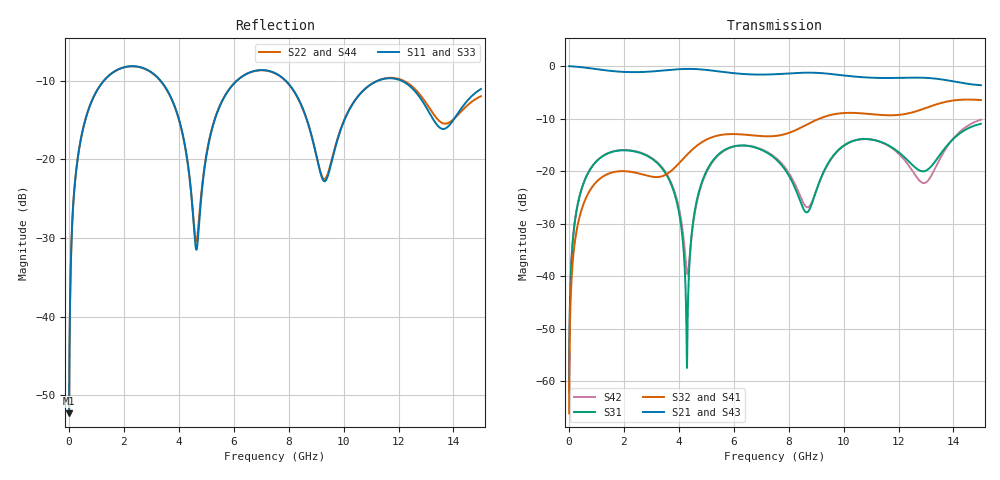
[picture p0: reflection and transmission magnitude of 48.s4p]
! Created with skrf 1.8.0 (http://scikit-rf.org).
# GHz S RI R 50.0
!freq ReS11 ImS11 ReS12 ImS12 ReS13 ImS13
! ReS14 ImS14
! ReS21 ImS21 ReS22 ImS22 ReS23 ImS23
! ReS24 ImS24
! ReS31 ImS31 ReS32 ImS32 ReS33 ImS33
! ReS34 ImS34
! ReS41 ImS41 ReS42 ImS42 ReS43 ImS43
! ReS44 ImS44
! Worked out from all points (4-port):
!   2499 points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, 5 MHz to 15 GHz, reference 50 ohm
!   strongest paths, dB at 5 MHz, 3.476 GHz, 7.19 GHz, 11.1 GHz, 15 GHz:
!     S21: 0.0, -0.8, -1.6, -2.2, -3.6
!     S43: 0.0, -0.8, -1.6, -2.2, -3.6
!     S32: -66.1, -20.8, -13.4, -9.2, -6.5
!     S41: -66.1, -20.8, -13.4, -9.2, -6.5
!     S31: -62.1, -20.1, -16.4, -14.1, -11.0
!     S42: -62.1, -19.9, -16.3, -14.1, -10.2
!   lowest |S11| = -52.3 dB at 5 MHz (marker M1), VSWR 1.00, Z = 50.2 + j0.147 ohm
!   |S11| at or under -10 dB: 3.34 GHz to 6.105 GHz (2.765 GHz wide, 58.6 % of centre); 7.901 GHz to 11.23 GHz (3.334 GHz wide, 34.8 % of centre); 12.12 GHz to end of sweep (the widest 3 of 4)
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0.005  0.00193 0.00147  0.998 -0.00376  9.84e-05 0.000777  -9.55e-05 -0.000486
       0.998 -0.00376  0.00193 0.00147  -9.55e-05 -0.000486  9.85e-05 0.000777
       9.84e-05 0.000777  -9.55e-05 -0.000486  0.00193 0.00147  0.998 -0.00376
       -9.55e-05 -0.000486  9.85e-05 0.000777  0.998 -0.00376  0.00193 0.00147
0.3126303  0.0318 0.0949  0.9564 -0.2322  0.015 0.0452  -0.0125 -0.0276
           0.9564 -0.2322  0.0318 0.0949  -0.0125 -0.0276  0.0152 0.0451
           0.015 0.0452  -0.0125 -0.0276  0.0318 0.0949  0.9564 -0.2322
           -0.0125 -0.0276  0.0152 0.0451  0.9564 -0.2322  0.0318 0.0949
1.3193  0.2719 0.1768  0.5465 -0.73  0.1288 0.0631  -0.0912 -0.00579
        0.5465 -0.73  0.2713 0.1773  -0.0913 -0.00577  0.1306 0.0608
        0.1288 0.0631  -0.0913 -0.00577  0.2718 0.1768  0.5466 -0.73
        -0.0912 -0.00579  0.1306 0.0608  0.5466 -0.73  0.2712 0.1773
4.29554  0.0468 -0.0918  -0.8932 -0.2917  -0.00131 -0.000265  -0.0402 0.1373
         -0.8932 -0.2917  0.0498 -0.0892  -0.0399 0.1374  -0.0102 -0.00401
         -0.00131 -0.000265  -0.0399 0.1374  0.0464 -0.0903  -0.8934 -0.2915
         -0.0402 0.1373  -0.0102 -0.00401  -0.8934 -0.2915  0.0493 -0.0878
5.364735  0.1226 0.1473  -0.8096 0.3838  0.1031 0.0914  0.1197 0.1802
          -0.8096 0.3838  0.1259 0.147  0.1202 0.18  0.0986 0.0921
          0.1031 0.0914  0.1202 0.18  0.1233 0.1489  -0.8092 0.3837
          0.1197 0.1802  0.0986 0.0921  -0.8092 0.3837  0.1268 0.1486
9.347645  0.0733 0.00268  0.8448 0.0978  0.00187 0.108  0.0308 -0.3308
          0.8448 0.0978  0.0759 0.00438  0.0294 -0.3309  -0.00155 0.1061
          0.00187 0.108  0.0294 -0.3309  0.0737 -0.000174  0.8445 0.1013
          0.0308 -0.3308  -0.00155 0.1061  0.8445 0.1013  0.076 0.00184
15  0.2794 0.028  -0.604 0.2593  0.1949 0.2042  0.2628 0.3961
    -0.604 0.2593  0.2525 0.00751  0.2653 0.3942  0.2406 0.1936
    0.1949 0.2042  0.2653 0.3942  0.2789 0.0289  -0.6078 0.2519
    0.2628 0.3961  0.2406 0.1936  -0.6078 0.2519  0.2511 0.0118
